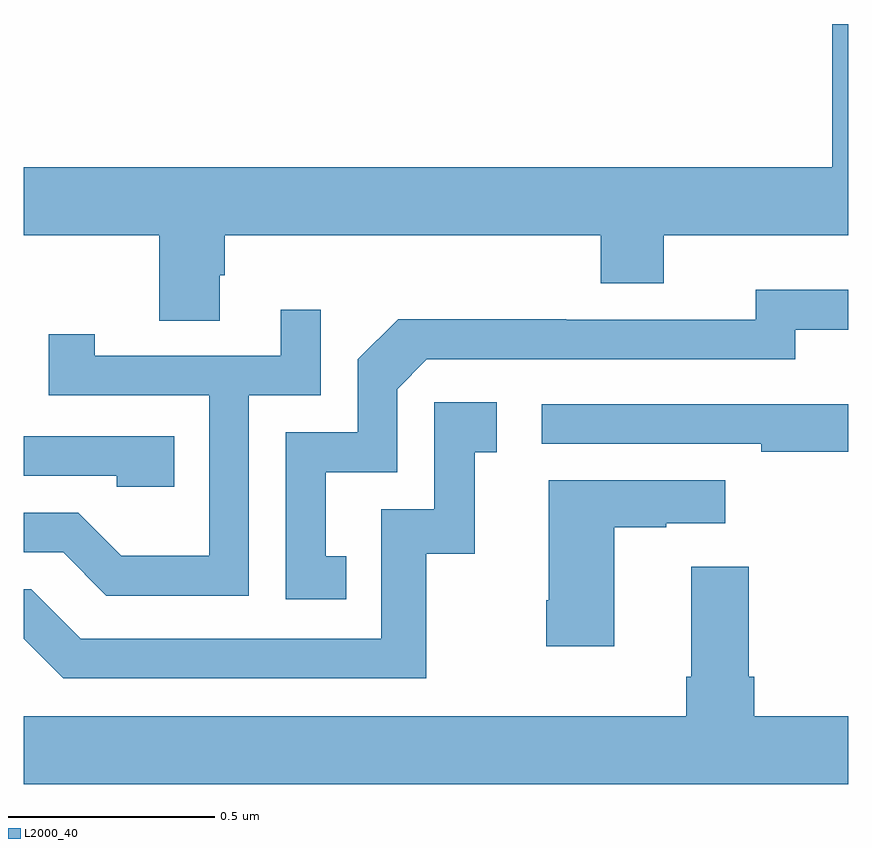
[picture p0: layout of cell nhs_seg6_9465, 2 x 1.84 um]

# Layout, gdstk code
import gdstk
lib = gdstk.Library(unit=1e-6, precision=1e-09)
def P(c, l, *ps):  # polygons
    for p in ps: c.add(gdstk.Polygon(p, *l))
L2000_40 = (2000, 40)

nhs_seg6_9465 = lib.new_cell('nhs_seg6_9465')
P(nhs_seg6_9465, L2000_40, [(234.475,961.89),(234.488,961.89),(234.488,961.988),(235.4,961.988),(235.4,961.871),(235.552,961.871),(235.552,961.988),(236,961.988),(236,962.5),(235.961,962.5),(235.961,962.152),(234,962.152),(234,961.988),(234.328,961.988),(234.328,961.78),(234.475,961.78)],
  [(234.782,961.209),(234.733,961.209),(234.733,961.413),(234.906,961.413),(234.906,961.614),(234.978,961.686),(235.872,961.686),(235.872,961.758),(236,961.758),(236,961.855),(235.776,961.855),(235.776,961.782),(235.316,961.782),(235.316,961.784),(234.908,961.784),(234.81,961.686),(234.81,961.509),(234.636,961.509),(234.636,961.104),(234.782,961.104)],
  [(234.546,961.599),(234.72,961.599),(234.72,961.807),(234.623,961.807),(234.623,961.695),(234.172,961.695),(234.172,961.747),(234.061,961.747),(234.061,961.599),(234.45,961.599),(234.45,961.21),(234.236,961.21),(234.132,961.314),(234,961.314),(234,961.218),(234.095,961.218),(234.2,961.113),(234.546,961.113)],
  [(234.976,961.215),(235.094,961.215),(235.094,961.461),(235.147,961.461),(235.147,961.582),(234.996,961.582),(234.996,961.323),(234.867,961.323),(234.867,961.008),(234.138,961.008),(234.018,961.128),(234,961.128),(234,961.008),(234.096,960.912),(234.976,960.912)],
  [(236,961.578),(235.257,961.578),(235.257,961.482),(235.789,961.482),(235.789,961.462),(236,961.462)],
  [(234.365,961.5),(234,961.5),(234,961.404),(234.225,961.404),(234.225,961.377),(234.365,961.377)],
  [(235.432,961.279),(235.559,961.279),(235.559,961.289),(235.702,961.289),(235.702,961.393),(235.274,961.393),(235.274,961.102),(235.267,961.102),(235.267,960.99),(235.432,960.99)],
  [(236,960.82),(235.772,960.82),(235.772,960.916),(235.759,960.916),(235.759,961.183),(235.619,961.183),(235.619,960.916),(235.607,960.916),(235.607,960.82),(234,960.82),(234,960.656),(236,960.656)])

lib.write_gds('nhs_seg6_9465.gds')
